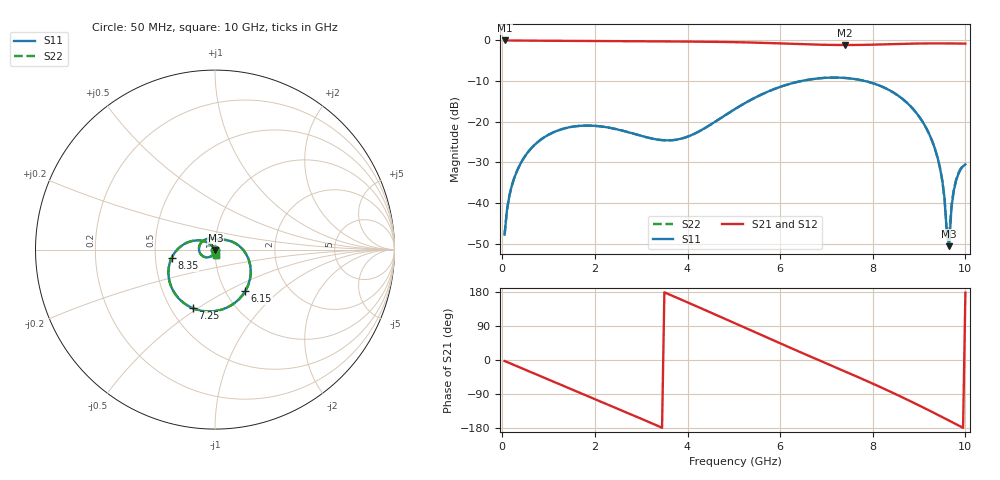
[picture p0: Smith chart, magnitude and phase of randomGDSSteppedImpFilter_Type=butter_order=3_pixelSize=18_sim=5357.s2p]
! freq	dB(S11)	phase(S11)	dB(S12)	phase(S12)
!  dB(S21)	phase(S21)	dB(S22)	phase(S22)
!S-par simulation data
#  GHz  S  DB  R 50
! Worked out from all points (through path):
!   200 points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, 50 MHz to 10 GHz, reference 50 ohm
!   highest |S21| = 0.00 dB at 50 MHz (marker M1); lowest = -1.1 dB at 7.4 GHz (marker M2)
!   group delay of S21, straight-line fit = 149 ps
!   lowest |S11| = -50.6 dB at 9.65 GHz (marker M3), VSWR 1.01, Z = 50.2 - j0.16 ohm
!   |S11| at or under -10 dB: start of sweep to 6.449 GHz; 7.84 GHz to end of sweep
!   |S22| runs from -48.0 to -9.1 dB; largest |S21 - S12| = 0
!   S11 on the Smith chart (normalised r, x): 50 MHz: 1.00, -0.01; 6.15 GHz: 1.23, -0.62; 7.25 GHz: 0.64, -0.48; 8.35 GHz: 0.61, -0.06; 10 GHz: 1.01, -0.06
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0.05  -47.76 -91.2  -0.00 -2.6  -0.00 -2.6  -47.76 -91.2
0.2  -35.96 -99.2  -0.02 -10.4  -0.02 -10.4  -35.96 -99.2
0.5  -28.32 -116.5  -0.04 -25.9  -0.04 -25.9  -28.32 -116.5
1.15  -22.38 -150.7  -0.09 -59.4  -0.09 -59.4  -22.38 -150.7
1.75  -20.96 178.1  -0.13 -90.2  -0.13 -90.2  -20.96 178.1
2.5  -21.92 138.7  -0.17 -129.0  -0.17 -129.0  -21.92 138.7
3.4  -24.46 90.3  -0.23 -176.1  -0.23 -176.1  -24.46 90.5
4.15  -22.95 50.6  -0.29 144.1  -0.29 144.1  -22.95 51.0
5.05  -16.70 4.0  -0.43 95.6  -0.43 95.6  -16.70 4.3
6.15  -10.87 -53.9  -0.79 35.9  -0.79 35.9  -10.87 -53.7
6.7  -9.50 -82.6  -1.00 6.7  -1.00 6.7  -9.50 -82.4
7.25  -9.14 -110.9  -1.12 -22.3  -1.12 -22.3  -9.14 -110.8
7.4  -9.23 -118.7  -1.12 -30.2  -1.12 -30.2  -9.23 -118.5
8.35  -12.18 -169.2  -0.93 -81.9  -0.93 -81.9  -12.19 -169.2
8.9  -17.25 159.7  -0.77 -113.9  -0.77 -113.9  -17.27 159.4
9.3  -25.25 136.0  -0.72 -138.2  -0.72 -138.2  -25.29 134.9
9.5  -34.35 122.5  -0.72 -150.6  -0.72 -150.6  -34.45 118.6
9.6  -47.57 103.8  -0.73 -156.8  -0.73 -156.8  -47.00 83.8
9.65  -50.61 -32.7  -0.74 -160.0  -0.74 -160.0  -47.96 -19.1
9.7  -41.09 -59.0  -0.74 -163.1  -0.74 -163.1  -40.50 -50.6
9.75  -36.94 -64.3  -0.75 -166.3  -0.75 -166.3  -36.62 -58.8
10  -30.51 -77.2  -0.78 177.7  -0.78 177.7  -30.34 -74.4
